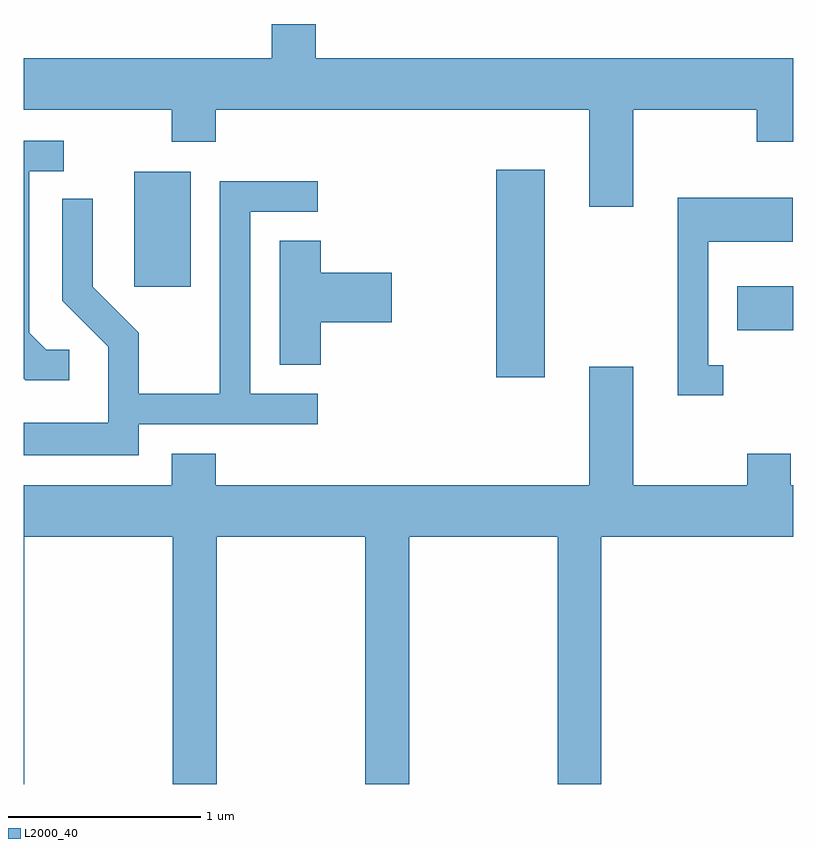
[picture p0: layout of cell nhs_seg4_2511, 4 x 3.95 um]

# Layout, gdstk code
import gdstk
lib = gdstk.Library(unit=1e-6, precision=1e-09)
def R(c, l, rs):  # rectangles x0, y0, x1, y1
    for r in rs: c.add(gdstk.rectangle(r[:2], r[2:], *l))
def P(c, l, *ps):  # polygons
    for p in ps: c.add(gdstk.Polygon(p, *l))
L2000_40 = (2000, 40)

nhs_seg4_2511 = lib.new_cell('nhs_seg4_2511')
R(nhs_seg4_2511, L2000_40, [(260.066,1382.146,260.319,1383.224), (261.321,1382.391,261.611,1382.619), (258.186,1382.616,258.479,1383.214)])
P(nhs_seg4_2511, L2000_40, [(260.779,1383.536),(261.421,1383.536),(261.421,1383.371),(261.611,1383.371),(261.611,1383.804),(259.129,1383.804),(259.129,1383.982),(258.901,1383.982),(258.901,1383.804),(257.611,1383.804),(257.611,1383.536),(258.381,1383.536),(258.381,1383.371),(258.609,1383.371),(258.609,1383.536),(260.551,1383.536),(260.551,1383.031),(260.779,1383.031)],
  [(257.848,1382.289),(257.727,1382.289),(257.639,1382.377),(257.639,1383.216),(257.818,1383.216),(257.818,1383.374),(257.611,1383.374),(257.611,1382.138),(257.618,1382.131),(257.848,1382.131)],
  [(258.209,1381.901),(259.138,1381.901),(259.138,1382.059),(258.789,1382.059),(258.789,1383.006),(259.138,1383.006),(259.138,1383.164),(258.631,1383.164),(258.631,1382.059),(258.209,1382.059),(258.209,1382.377),(257.969,1382.617),(257.969,1383.073),(257.811,1383.073),(257.811,1382.544),(258.051,1382.304),(258.051,1381.909),(257.611,1381.909),(257.611,1381.741),(258.209,1381.741)],
  [(261.248,1382.209),(261.169,1382.209),(261.169,1382.851),(261.609,1382.851),(261.609,1383.079),(261.011,1383.079),(261.011,1382.051),(261.248,1382.051)],
  [(259.154,1382.431),(259.524,1382.431),(259.524,1382.689),(259.154,1382.689),(259.154,1382.854),(258.941,1382.854),(258.941,1382.211),(259.154,1382.211)],
  [(257.614,1381.316),(258.386,1381.316),(258.386,1380.031),(258.614,1380.031),(258.614,1381.316),(259.386,1381.316),(259.386,1380.031),(259.614,1380.031),(259.614,1381.316),(260.386,1381.316),(260.386,1380.031),(260.614,1380.031),(260.614,1381.316),(261.611,1381.316),(261.611,1381.584),(261.599,1381.584),(261.599,1381.749),(261.371,1381.749),(261.371,1381.584),(260.779,1381.584),(260.779,1382.199),(260.551,1382.199),(260.551,1381.584),(258.609,1381.584),(258.609,1381.749),(258.381,1381.749),(258.381,1381.584),(257.611,1381.584),(257.611,1380.031),(257.614,1380.031)])

lib.write_gds('nhs_seg4_2511.gds')
